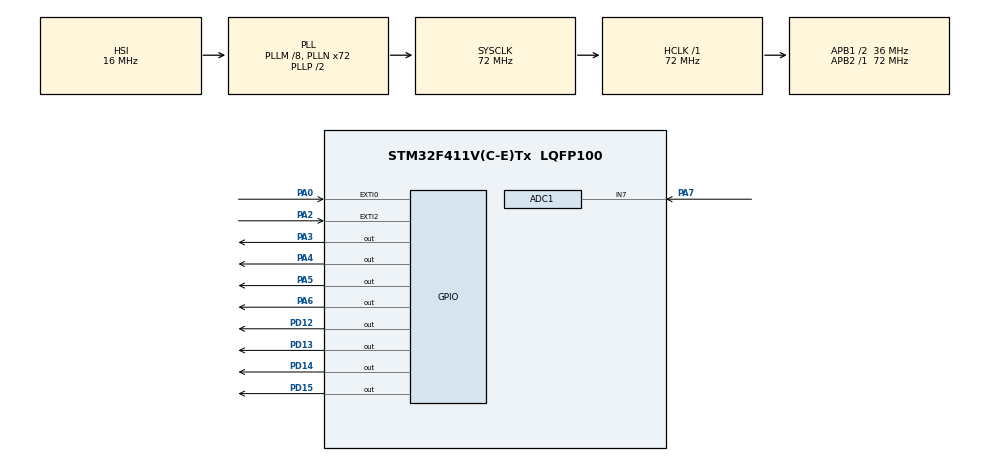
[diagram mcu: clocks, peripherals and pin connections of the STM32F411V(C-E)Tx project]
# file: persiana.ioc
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ADC1.Channel-1\#ChannelRegularConversion=ADC_CHANNEL_7
ADC1.NbrOfConversionFlag=1
ADC1.Rank-1\#ChannelRegularConversion=1
ADC1.SamplingTime-1\#ChannelRegularConversion=ADC_SAMPLETIME_3CYCLES
ADC1.master=1
Mcu.Family=STM32F4
Mcu.Name=STM32F411V(C-E)Tx
Mcu.Package=LQFP100
NVIC.EXTI0_IRQn=true\:0\:0\:false\:false\:true\:true\:true\:true
NVIC.EXTI2_IRQn=true\:0\:0\:false\:false\:true\:true\:true\:true
NVIC.PriorityGroup=NVIC_PRIORITYGROUP_0
NVIC.TIM2_IRQn=true\:0\:0\:false\:false\:true\:true\:true\:true
PA0-WKUP.Signal=GPXTI0
PA2.Signal=GPXTI2
PA3.Signal=GPIO_Output
PA4.Signal=GPIO_Output
PA5.Signal=GPIO_Output
PA6.Signal=GPIO_Output
PA7.Signal=ADCx_IN7
PC14-OSC32_IN.Mode=LSE-External-Oscillator
PC14-OSC32_IN.Signal=RCC_OSC32_IN
PC15-OSC32_OUT.Mode=LSE-External-Oscillator
PC15-OSC32_OUT.Signal=RCC_OSC32_OUT
PD12.Signal=GPIO_Output
PD13.Signal=GPIO_Output
PD14.Signal=GPIO_Output
PD15.Signal=GPIO_Output
PH0\ -\ OSC_IN.Mode=HSE-External-Oscillator
PH0\ -\ OSC_IN.Signal=RCC_OSC_IN
PH1\ -\ OSC_OUT.Mode=HSE-External-Oscillator
PH1\ -\ OSC_OUT.Signal=RCC_OSC_OUT
ProjectManager.HeapSize=0x200
ProjectManager.StackSize=0x400
ProjectManager.TargetToolchain=STM32CubeIDE
RCC.48MHZClocksFreq_Value=18000000
RCC.AHBFreq_Value=72000000
RCC.APB1CLKDivider=RCC_HCLK_DIV2
RCC.APB1Freq_Value=36000000
RCC.APB1TimFreq_Value=72000000
RCC.APB2Freq_Value=72000000
RCC.APB2TimFreq_Value=72000000
RCC.CortexFreq_Value=72000000
RCC.HCLKFreq_Value=72000000
RCC.HSE_VALUE=8000000
RCC.HSI_VALUE=16000000
RCC.PLLI2SM=5
RCC.PLLI2SN=200
RCC.PLLM=8
RCC.PLLN=72
RCC.PLLQ=8
RCC.SYSCLKFreq_VALUE=72000000
RCC.SYSCLKSource=RCC_SYSCLKSOURCE_PLLCLK
RCC.VCOOutputFreq_Value=144000000
SH.ADCx_IN7.0=ADC1_IN7,IN7
TIM2.Period=4
TIM2.Prescaler=35999
VP_TIM2_VS_ClockSourceINT.Mode=Internal
board=STM32F411E-DISCO

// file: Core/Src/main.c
/* USER CODE BEGIN Header */
/**
  ******************************************************************************
  * @file           : main.c
  * @brief          : Main program body
  ******************************************************************************
  * @attention
  *
  * Copyright (c) 2022 STMicroelectronics.
  * All rights reserved.
  *
  * This software is licensed under terms that can be found in the LICENSE file
  * in the root directory of this software component.
  * If no LICENSE file comes with this software, it is provided AS-IS.
  *
  ******************************************************************************
  */
/* USER CODE END Header */
#include "main.h"

/* USER CODE BEGIN PD */
void setPosition(int);
/* USER CODE END PD */

ADC_HandleTypeDef hadc1;

TIM_HandleTypeDef htim2;

/* USER CODE BEGIN PV */
	volatile int estado=0; //0 esta bajada, 1 esta subida, 2 en movimiento
	volatile int accion=0;//0 parado, 1 subiendo, 2 bajando
	volatile int position=1; //motor
	volatile int cuenta=0;
	volatile int aux=0;
	volatile int botonautomatic=0;
	__IO uint16_t luz=0;
/* USER CODE END PV */

void SystemClock_Config(void);
static void MX_GPIO_Init(void);
static void MX_TIM2_Init(void);
static void MX_ADC1_Init(void);

/* USER CODE BEGIN 0 */
void HAL_GPIO_EXTI_Callback(uint16_t GPIO_Pin){

	if (GPIO_Pin==GPIO_PIN_0){		//pulsacion de boton (manual)
		if(accion==0){				//persiana parada
			if(estado==0)			//persiana bajada
				accion=1;			//subiendo
			else if(estado==1)		//persiana subida
				accion=2; 			//bajando
		}
		else if(accion==1)			//persiana subiendo
			accion=2;

		else if(accion==2)			//persiana bajando
			accion=1;
	}

	else if (GPIO_Pin==GPIO_PIN_2){//modo automatico
		if (botonautomatic==0) //activa modo
			botonautomatic=1;

		else if(botonautomatic==1) //desactiva modo
			botonautomatic=0;
	}
}

int antirrebotes(volatile int* button_int, GPIO_TypeDef* GPIO_Port, uint16_t GPIO_number){

	uint8_t button_count=0;
	int counter=0;
	const uint8_t periodo_comprobacion=25; //ms

	if (HAL_GPIO_ReadPin(GPIO_Port, GPIO_number)){
		counter=HAL_GetTick();

		while (button_count<4){
			if ((HAL_GetTick()-counter) >= periodo_comprobacion){
				if (HAL_GPIO_ReadPin(GPIO_Port, GPIO_number)!=1){
					button_count=0;
				}else{
					button_count++;
				}
				if (button_count==4){
					return 1;
					button_count=0;
				}
			counter=HAL_GetTick();
			}
		}

	}
	button_count=0;
	return 0;

}

/* USER CODE END 0 */

int main(void)
{

  /* MCU Configuration--------------------------------------------------------*/

  /* Reset of all peripherals, Initializes the Flash interface and the Systick. */
                                  HAL_Init();

  /* Configure the system clock */
  SystemClock_Config();

  /* Initialize all configured peripherals */
  MX_GPIO_Init();
  MX_TIM2_Init();
  MX_ADC1_Init();
  /* USER CODE BEGIN 2 */
  HAL_TIM_Base_Start_IT(&htim2);

  /* USER CODE END 2 */

  /* Infinite loop */
  /* USER CODE BEGIN WHILE */

  //antirrebotes

  while (1)
  {
    /* USER CODE END WHILE */

    /* USER CODE BEGIN 3 */

	  HAL_ADC_Start(&hadc1);
	  if(HAL_ADC_PollForConversion(&hadc1,100000)==HAL_OK){
		  luz=HAL_ADC_GetValue(&hadc1);
	  }
	  //if (antirrebotes(&botonautomatic,GPIOA,GPIO_PIN_2)){
		  if(botonautomatic){
			  if(luz>1500) //persiana se sube
				  accion=2;

			  else
				  accion=1;

		  }
	 // }

	  if(cuenta>2499 && accion==1){
		  accion=0;
		  estado=1; //persiana subida completamente

	  }

	  if(cuenta<1 && accion==2){
			  accion=0;
			  estado=0; //persiana bajada completamente
	  }

	  if(accion==1 && aux==1){ //subiendo
		  do{
		  estado=2; //en movimiento
		  HAL_GPIO_WritePin(GPIOD, GPIO_PIN_12, GPIO_PIN_SET);//led VERDE activado
		  HAL_GPIO_WritePin(GPIOD, GPIO_PIN_13, GPIO_PIN_RESET);
		  HAL_GPIO_WritePin(GPIOD, GPIO_PIN_14, GPIO_PIN_RESET);
		  HAL_GPIO_WritePin(GPIOD, GPIO_PIN_15, GPIO_PIN_RESET);

		  position++;
		  HAL_Delay(8);

		  if(position>4){
			  position=1;
		  	  cuenta++;
		  }

		  setPosition(position);

		  }while (cuenta<2499 && (accion==1||aux==1)); //morgan

	  }

	  else if(accion==2 && aux==2){ //bajando
		  do{
	      estado=2; //en movimiento
		  HAL_GPIO_WritePin(GPIOD, GPIO_PIN_12, GPIO_PIN_RESET);
		  HAL_GPIO_WritePin(GPIOD, GPIO_PIN_15, GPIO_PIN_SET); //led azul activado
		  HAL_GPIO_WritePin(GPIOD, GPIO_PIN_13, GPIO_PIN_RESET);
		  HAL_GPIO_WritePin(GPIOD, GPIO_PIN_14, GPIO_PIN_RESET);

		  position--;
		  HAL_Delay(5);

		  if(position<1){
		  	 	position=4;
		  	  	cuenta--;
		  }

		  setPosition(position);

		  } while (cuenta>1 && (accion==2||aux==2));
	  }
	  else{
		  HAL_GPIO_WritePin(GPIOD, GPIO_PIN_12, GPIO_PIN_RESET);
		  HAL_GPIO_WritePin(GPIOD, GPIO_PIN_13, GPIO_PIN_RESET);
		  HAL_GPIO_WritePin(GPIOD, GPIO_PIN_14, GPIO_PIN_RESET);
		  HAL_GPIO_WritePin(GPIOD, GPIO_PIN_15, GPIO_PIN_RESET);

	  }
  }

  /* USER CODE END 3 */
}

void SystemClock_Config(void)
{
  RCC_OscInitTypeDef RCC_OscInitStruct = {0};
  RCC_ClkInitTypeDef RCC_ClkInitStruct = {0};

  /** Configure the main internal regulator output voltage
  */
  __HAL_RCC_PWR_CLK_ENABLE();
  __HAL_PWR_VOLTAGESCALING_CONFIG(PWR_REGULATOR_VOLTAGE_SCALE1);

  /** Initializes the RCC Oscillators according to the specified parameters
  * in the RCC_OscInitTypeDef structure.
  */
  RCC_OscInitStruct.OscillatorType = RCC_OSCILLATORTYPE_HSI;
  RCC_OscInitStruct.HSIState = RCC_HSI_ON;
  RCC_OscInitStruct.HSICalibrationValue = RCC_HSICALIBRATION_DEFAULT;
  RCC_OscInitStruct.PLL.PLLState = RCC_PLL_ON;
  RCC_OscInitStruct.PLL.PLLSource = RCC_PLLSOURCE_HSI;
  RCC_OscInitStruct.PLL.PLLM = 8;
  RCC_OscInitStruct.PLL.PLLN = 72;
  RCC_OscInitStruct.PLL.PLLP = RCC_PLLP_DIV2;
  RCC_OscInitStruct.PLL.PLLQ = 8;
  if (HAL_RCC_OscConfig(&RCC_OscInitStruct) != HAL_OK)
  {
    Error_Handler();
  }

  /** Initializes the CPU, AHB and APB buses clocks
  */
  RCC_ClkInitStruct.ClockType = RCC_CLOCKTYPE_HCLK|RCC_CLOCKTYPE_SYSCLK
                              |RCC_CLOCKTYPE_PCLK1|RCC_CLOCKTYPE_PCLK2;
  RCC_ClkInitStruct.SYSCLKSource = RCC_SYSCLKSOURCE_PLLCLK;
  RCC_ClkInitStruct.AHBCLKDivider = RCC_SYSCLK_DIV1;
  RCC_ClkInitStruct.APB1CLKDivider = RCC_HCLK_DIV2;
  RCC_ClkInitStruct.APB2CLKDivider = RCC_HCLK_DIV1;

  if (HAL_RCC_ClockConfig(&RCC_ClkInitStruct, FLASH_LATENCY_2) != HAL_OK)
  {
    Error_Handler();
  }
}

static void MX_ADC1_Init(void)
{

  ADC_ChannelConfTypeDef sConfig = {0};

  /** Configure the global features of the ADC (Clock, Resolution, Data Alignment and number of conversion)
  */
  hadc1.Instance = ADC1;
  hadc1.Init.ClockPrescaler = ADC_CLOCK_SYNC_PCLK_DIV2;
  hadc1.Init.Resolution = ADC_RESOLUTION_12B;
  hadc1.Init.ScanConvMode = DISABLE;
  hadc1.Init.ContinuousConvMode = DISABLE;
  hadc1.Init.DiscontinuousConvMode = DISABLE;
  hadc1.Init.ExternalTrigConvEdge = ADC_EXTERNALTRIGCONVEDGE_NONE;
  hadc1.Init.ExternalTrigConv = ADC_SOFTWARE_START;
  hadc1.Init.DataAlign = ADC_DATAALIGN_RIGHT;
  hadc1.Init.NbrOfConversion = 1;
  hadc1.Init.DMAContinuousRequests = DISABLE;
  hadc1.Init.EOCSelection = ADC_EOC_SINGLE_CONV;
  if (HAL_ADC_Init(&hadc1) != HAL_OK)
  {
    Error_Handler();
  }

  /** Configure for the selected ADC regular channel its corresponding rank in the sequencer and its sample time.
  */
  sConfig.Channel = ADC_CHANNEL_7;
  sConfig.Rank = 1;
  sConfig.SamplingTime = ADC_SAMPLETIME_3CYCLES;
  if (HAL_ADC_ConfigChannel(&hadc1, &sConfig) != HAL_OK)
  {
    Error_Handler();
  }

}

static void MX_TIM2_Init(void)
{

  TIM_ClockConfigTypeDef sClockSourceConfig = {0};
  TIM_MasterConfigTypeDef sMasterConfig = {0};

  htim2.Instance = TIM2;
  htim2.Init.Prescaler = 35999;
  htim2.Init.CounterMode = TIM_COUNTERMODE_UP;
  htim2.Init.Period = 4;
  htim2.Init.ClockDivision = TIM_CLOCKDIVISION_DIV1;
  htim2.Init.AutoReloadPreload = TIM_AUTORELOAD_PRELOAD_DISABLE;
  if (HAL_TIM_Base_Init(&htim2) != HAL_OK)
  {
    Error_Handler();
  }
  sClockSourceConfig.ClockSource = TIM_CLOCKSOURCE_INTERNAL;
  if (HAL_TIM_ConfigClockSource(&htim2, &sClockSourceConfig) != HAL_OK)
  {
    Error_Handler();
  }
  sMasterConfig.MasterOutputTrigger = TIM_TRGO_RESET;
  sMasterConfig.MasterSlaveMode = TIM_MASTERSLAVEMODE_DISABLE;
  if (HAL_TIMEx_MasterConfigSynchronization(&htim2, &sMasterConfig) != HAL_OK)
  {
    Error_Handler();
  }

}

static void MX_GPIO_Init(void)
{
  GPIO_InitTypeDef GPIO_InitStruct = {0};

  /* GPIO Ports Clock Enable */
  __HAL_RCC_GPIOC_CLK_ENABLE();
  __HAL_RCC_GPIOH_CLK_ENABLE();
  __HAL_RCC_GPIOA_CLK_ENABLE();
  __HAL_RCC_GPIOD_CLK_ENABLE();

  /*Configure GPIO pin Output Level */
  HAL_GPIO_WritePin(GPIOA, GPIO_PIN_3|GPIO_PIN_4|GPIO_PIN_5|GPIO_PIN_6, GPIO_PIN_RESET);

  /*Configure GPIO pin Output Level */
  HAL_GPIO_WritePin(GPIOD, GPIO_PIN_12|GPIO_PIN_13|GPIO_PIN_14|GPIO_PIN_15, GPIO_PIN_RESET);

  /*Configure GPIO pins : PA0 PA2 */
  GPIO_InitStruct.Pin = GPIO_PIN_0|GPIO_PIN_2;
  GPIO_InitStruct.Mode = GPIO_MODE_IT_RISING;
  GPIO_InitStruct.Pull = GPIO_NOPULL;
  HAL_GPIO_Init(GPIOA, &GPIO_InitStruct);

  /*Configure GPIO pins : PA3 PA4 PA5 PA6 */
  GPIO_InitStruct.Pin = GPIO_PIN_3|GPIO_PIN_4|GPIO_PIN_5|GPIO_PIN_6;
  GPIO_InitStruct.Mode = GPIO_MODE_OUTPUT_PP;
  GPIO_InitStruct.Pull = GPIO_NOPULL;
  GPIO_InitStruct.Speed = GPIO_SPEED_FREQ_LOW;
  HAL_GPIO_Init(GPIOA, &GPIO_InitStruct);

  /*Configure GPIO pins : PD12 PD13 PD14 PD15 */
  GPIO_InitStruct.Pin = GPIO_PIN_12|GPIO_PIN_13|GPIO_PIN_14|GPIO_PIN_15;
  GPIO_InitStruct.Mode = GPIO_MODE_OUTPUT_PP;
  GPIO_InitStruct.Pull = GPIO_NOPULL;
  GPIO_InitStruct.Speed = GPIO_SPEED_FREQ_LOW;
  HAL_GPIO_Init(GPIOD, &GPIO_InitStruct);

  /* EXTI interrupt init*/
  HAL_NVIC_SetPriority(EXTI0_IRQn, 0, 0);
  HAL_NVIC_EnableIRQ(EXTI0_IRQn);

  HAL_NVIC_SetPriority(EXTI2_IRQn, 0, 0);
  HAL_NVIC_EnableIRQ(EXTI2_IRQn);

}

/* USER CODE BEGIN 4 */
void HAL_TIM_PeriodElapsedCallback(TIM_HandleTypeDef *htim){

	if(htim->Instance==TIM2){ //cuando se ha superado el tiempo establecido

		if(accion==1)
			aux=1;

		else if(accion==2)
			aux=2;
	}

}

void setPosition(int pos){

	switch(pos){
	case 1:
		HAL_GPIO_WritePin(GPIOA, GPIO_PIN_4|GPIO_PIN_5|GPIO_PIN_6, GPIO_PIN_RESET);
		HAL_GPIO_WritePin(GPIOA, GPIO_PIN_3, GPIO_PIN_SET);
	break;

	case 2:
		HAL_GPIO_WritePin(GPIOA, GPIO_PIN_3|GPIO_PIN_5|GPIO_PIN_6, GPIO_PIN_RESET);
		HAL_GPIO_WritePin(GPIOA, GPIO_PIN_4, GPIO_PIN_SET);
	break;

	case 3:
		HAL_GPIO_WritePin(GPIOA, GPIO_PIN_3|GPIO_PIN_4|GPIO_PIN_6, GPIO_PIN_RESET);
		HAL_GPIO_WritePin(GPIOA, GPIO_PIN_5, GPIO_PIN_SET);
	break;

	case 4:
		HAL_GPIO_WritePin(GPIOA, GPIO_PIN_3|GPIO_PIN_4|GPIO_PIN_5, GPIO_PIN_RESET);
		HAL_GPIO_WritePin(GPIOA, GPIO_PIN_6, GPIO_PIN_SET);
	break;

	}

}
/* USER CODE END 4 */

void Error_Handler(void)
{
  __disable_irq();
  while (1)
  {
  }
}
